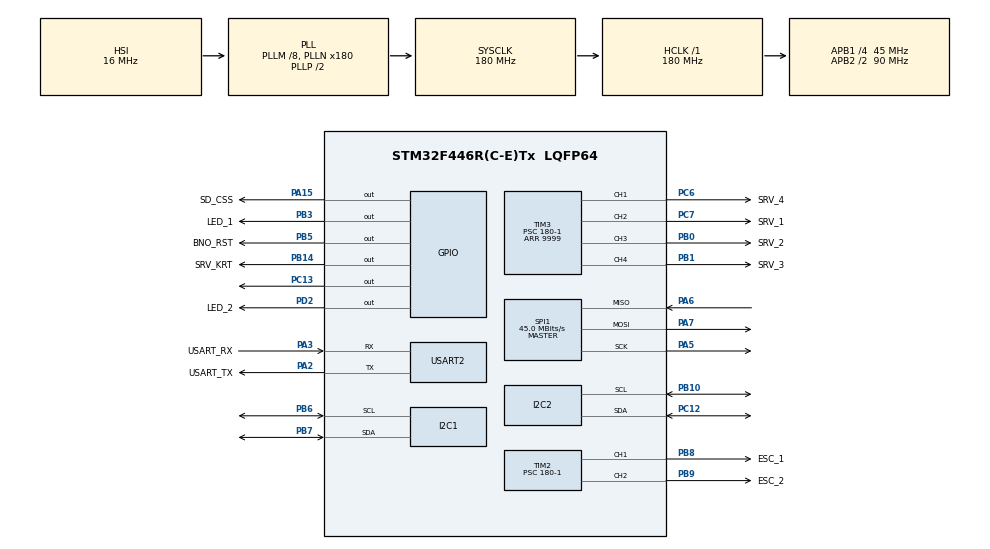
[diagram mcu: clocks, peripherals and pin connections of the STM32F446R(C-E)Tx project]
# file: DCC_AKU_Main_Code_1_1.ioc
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FATFS._MAX_SS=4096
FREERTOS.Tasks01=Read_SensorData,3,512,Read_Sensor_Data_Task,Default,NULL,Dynamic,NULL,NULL;Flight_States,2,512,Flight_States_Task,Default,NULL,Dynamic,NULL,NULL;Servo_Control,2,512,Servo_Control_Task,Default,NULL,Dynamic,NULL,NULL;DC_Motor_Contro,2,512,DC_Motor_Control_Task,Default,NULL,Dynamic,NULL,NULL;Uart_to_LTC,0,2048,Uart_to_LTC_Task,Default,NULL,Dynamic,NULL,NULL;Write_to_SD,0,1024,Write_to_SD_Start,Default,NULL,Dynamic,NULL,NULL;System_Check,2,512,System_Check_Start,Default,NULL,Dynamic,NULL,NULL
FREERTOS.configCHECK_FOR_STACK_OVERFLOW=1
FREERTOS.configTOTAL_HEAP_SIZE=45360
FREERTOS.configUSE_NEWLIB_REENTRANT=1
Mcu.Family=STM32F4
Mcu.Name=STM32F446R(C-E)Tx
Mcu.Package=LQFP64
NVIC.PriorityGroup=NVIC_PRIORITYGROUP_4
NVIC.TIM1_UP_TIM10_IRQn=true\:15\:0\:false\:false\:true\:false\:false\:true\:true
NVIC.TimeBase=TIM1_UP_TIM10_IRQn
NVIC.TimeBaseIP=TIM1
NVIC.USART2_IRQn=true\:5\:0\:false\:false\:true\:true\:true\:true\:true
PA13.GPIO_Label=TMS
PA13.Mode=Serial_Wire
PA13.Signal=SYS_JTMS-SWDIO
PA14.GPIO_Label=TCK
PA14.Mode=Serial_Wire
PA14.Signal=SYS_JTCK-SWCLK
PA15.GPIO_Label=SD_CSS
PA15.Signal=GPIO_Output
PA2.GPIO_Label=USART_TX
PA2.Mode=Asynchronous
PA2.Signal=USART2_TX
PA3.GPIO_Label=USART_RX
PA3.Mode=Asynchronous
PA3.Signal=USART2_RX
PA5.Mode=Full_Duplex_Master
PA5.Signal=SPI1_SCK
PA6.Mode=Full_Duplex_Master
PA6.Signal=SPI1_MISO
PA7.Mode=Full_Duplex_Master
PA7.Signal=SPI1_MOSI
PB0.GPIO_Label=SRV_2
PB0.Signal=S_TIM3_CH3
PB1.GPIO_Label=SRV_3
PB1.Signal=S_TIM3_CH4
PB10.Mode=I2C
PB10.Signal=I2C2_SCL
PB14.GPIO_Label=SRV_KRT
PB14.Signal=GPIO_Output
PB3.GPIO_Label=LED_1
PB3.Signal=GPIO_Output
PB5.GPIO_Label=BNO_RST
PB5.Signal=GPIO_Output
PB6.Mode=I2C
PB6.Signal=I2C1_SCL
PB7.Mode=I2C
PB7.Signal=I2C1_SDA
PB8.GPIO_Label=ESC_1
PB8.Signal=S_TIM2_CH1_ETR
PB9.GPIO_Label=ESC_2
PB9.Signal=S_TIM2_CH2
PC12.Mode=I2C
PC12.Signal=I2C2_SDA
PC13.Signal=GPIO_Output
PC14-OSC32_IN.GPIO_Label=LED_3
PC14-OSC32_IN.Mode=LSE-External-Oscillator
PC14-OSC32_IN.Signal=RCC_OSC32_IN
PC15-OSC32_OUT.Mode=LSE-External-Oscillator
PC15-OSC32_OUT.Signal=RCC_OSC32_OUT
PC6.GPIO_Label=SRV_4
PC6.Signal=S_TIM3_CH1
PC7.GPIO_Label=SRV_1
PC7.Signal=S_TIM3_CH2
PD2.GPIO_Label=LED_2
PD2.Signal=GPIO_Output
PH0-OSC_IN.Mode=HSE-External-Oscillator
PH0-OSC_IN.Signal=RCC_OSC_IN
PH1-OSC_OUT.Mode=HSE-External-Oscillator
PH1-OSC_OUT.Signal=RCC_OSC_OUT
ProjectManager.HeapSize=0x200
ProjectManager.StackSize=0x400
ProjectManager.TargetToolchain=STM32CubeIDE
RCC.48MHZClocksFreq_Value=84000000
RCC.AHBFreq_Value=180000000
RCC.APB1CLKDivider=RCC_HCLK_DIV4
RCC.APB1Freq_Value=45000000
RCC.APB1TimFreq_Value=90000000
RCC.APB2CLKDivider=RCC_HCLK_DIV2
RCC.APB2Freq_Value=90000000
RCC.APB2TimFreq_Value=180000000
RCC.CortexFreq_Value=180000000
RCC.FLatency-AdvancedSettings=FLASH_LATENCY_5
RCC.HCLKFreq_Value=180000000
RCC.HSE_VALUE=8000000
RCC.HSI_VALUE=16000000
RCC.PLLM=8
RCC.PLLN=180
RCC.SYSCLKFreq_VALUE=180000000
RCC.SYSCLKSource=RCC_SYSCLKSOURCE_PLLCLK
RCC.USBFreq_Value=180000000
RCC.VCOOutputFreq_Value=360000000
SH.S_TIM2_CH1_ETR.0=TIM2_CH1,PWM Generation1 CH1
SH.S_TIM2_CH2.0=TIM2_CH2,PWM Generation2 CH2
SH.S_TIM3_CH1.0=TIM3_CH1,PWM Generation1 CH1
SH.S_TIM3_CH2.0=TIM3_CH2,PWM Generation2 CH2
SH.S_TIM3_CH3.0=TIM3_CH3,PWM Generation3 CH3
SH.S_TIM3_CH4.0=TIM3_CH4,PWM Generation4 CH4
SPI1.CalculateBaudRate=45.0 MBits/s
SPI1.Direction=SPI_DIRECTION_2LINES
SPI1.Mode=SPI_MODE_MASTER
SPI1.VirtualType=VM_MASTER
TIM2.Channel-PWM\ Generation1\ CH1=TIM_CHANNEL_1
TIM2.Channel-PWM\ Generation2\ CH2=TIM_CHANNEL_2
TIM2.Period=9999
TIM2.Prescaler=180-1
TIM3.Channel-PWM\ Generation1\ CH1=TIM_CHANNEL_1
TIM3.Channel-PWM\ Generation2\ CH2=TIM_CHANNEL_2
TIM3.Channel-PWM\ Generation3\ CH3=TIM_CHANNEL_3
TIM3.Channel-PWM\ Generation4\ CH4=TIM_CHANNEL_4
TIM3.Period=9999
TIM3.Prescaler=180-1
USART2.VirtualMode=VM_ASYNC
VP_FATFS_VS_Generic.Mode=User_defined
VP_FREERTOS_VS_CMSIS_V1.Mode=CMSIS_V1
VP_SYS_VS_tim1.Mode=TIM1
VP_TIM2_VS_ClockSourceINT.Mode=Internal
VP_TIM3_VS_ClockSourceINT.Mode=Internal
board=NUCLEO-F446RE

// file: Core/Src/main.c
/* USER CODE BEGIN Header */
/**
  ******************************************************************************
  * @file           : main.c
  * @brief          : Main program body
  ******************************************************************************
  * @attention
  *
  * Copyright (c) 2023 STMicroelectronics.
  * All rights reserved.
  *
  * This software is licensed under terms that can be found in the LICENSE file
  * in the root directory of this software component.
  * If no LICENSE file comes with this software, it is provided AS-IS.
  *
  ******************************************************************************
  */
/* USER CODE END Header */
#include "main.h"
#include "cmsis_os.h"
#include "fatfs.h"
#include "i2c.h"
#include "spi.h"
#include "tim.h"
#include "usart.h"
#include "gpio.h"

/* USER CODE BEGIN Includes */
#include "DCC_Functions.h"
#include "DCC_Variables.h"
/* USER CODE END Includes */

void SystemClock_Config(void);
void MX_FREERTOS_Init(void);

/* USER CODE BEGIN 0 */

void HAL_UART_RxCpltCallback(UART_HandleTypeDef *huart)
{
	if(huart->Instance == huart2.Instance)
	{
		emergency_shutdown_UART();
	}
}
/* USER CODE END 0 */

int main(void)
{

  /* MCU Configuration--------------------------------------------------------*/

  /* Reset of all peripherals, Initializes the Flash interface and the Systick. */
  HAL_Init();

  /* Configure the system clock */
  SystemClock_Config();

  /* Initialize all configured peripherals */
  MX_GPIO_Init();
  MX_USART2_UART_Init();
  MX_I2C2_Init();
  MX_TIM2_Init();
  MX_I2C1_Init();
  MX_TIM3_Init();
  MX_SPI1_Init();
  MX_FATFS_Init();
  /* USER CODE BEGIN 2 */
//  initBarometer();
//  init_IMU();
//  read_IMU();
//  readAltitude();
  /* USER CODE END 2 */

  /* Call init function for freertos objects (in freertos.c) */
  MX_FREERTOS_Init();

  /* Start scheduler */
  osKernelStart();
  /* We should never get here as control is now taken by the scheduler */
  /* Infinite loop */
  while (1)
  {

  }
}

void SystemClock_Config(void)
{
  RCC_OscInitTypeDef RCC_OscInitStruct = {0};
  RCC_ClkInitTypeDef RCC_ClkInitStruct = {0};

  /** Configure the main internal regulator output voltage
  */
  __HAL_RCC_PWR_CLK_ENABLE();
  __HAL_PWR_VOLTAGESCALING_CONFIG(PWR_REGULATOR_VOLTAGE_SCALE1);

  /** Initializes the RCC Oscillators according to the specified parameters
  * in the RCC_OscInitTypeDef structure.
  */
  RCC_OscInitStruct.OscillatorType = RCC_OSCILLATORTYPE_HSI;
  RCC_OscInitStruct.HSIState = RCC_HSI_ON;
  RCC_OscInitStruct.HSICalibrationValue = RCC_HSICALIBRATION_DEFAULT;
  RCC_OscInitStruct.PLL.PLLState = RCC_PLL_ON;
  RCC_OscInitStruct.PLL.PLLSource = RCC_PLLSOURCE_HSI;
  RCC_OscInitStruct.PLL.PLLM = 8;
  RCC_OscInitStruct.PLL.PLLN = 180;
  RCC_OscInitStruct.PLL.PLLP = RCC_PLLP_DIV2;
  RCC_OscInitStruct.PLL.PLLQ = 2;
  RCC_OscInitStruct.PLL.PLLR = 2;
  if (HAL_RCC_OscConfig(&RCC_OscInitStruct) != HAL_OK)
  {
    Error_Handler();
  }

  /** Activate the Over-Drive mode
  */
  if (HAL_PWREx_EnableOverDrive() != HAL_OK)
  {
    Error_Handler();
  }

  /** Initializes the CPU, AHB and APB buses clocks
  */
  RCC_ClkInitStruct.ClockType = RCC_CLOCKTYPE_HCLK|RCC_CLOCKTYPE_SYSCLK
                              |RCC_CLOCKTYPE_PCLK1|RCC_CLOCKTYPE_PCLK2;
  RCC_ClkInitStruct.SYSCLKSource = RCC_SYSCLKSOURCE_PLLCLK;
  RCC_ClkInitStruct.AHBCLKDivider = RCC_SYSCLK_DIV1;
  RCC_ClkInitStruct.APB1CLKDivider = RCC_HCLK_DIV4;
  RCC_ClkInitStruct.APB2CLKDivider = RCC_HCLK_DIV2;

  if (HAL_RCC_ClockConfig(&RCC_ClkInitStruct, FLASH_LATENCY_5) != HAL_OK)
  {
    Error_Handler();
  }
}

void HAL_TIM_PeriodElapsedCallback(TIM_HandleTypeDef *htim)
{
  if (htim->Instance == TIM1) {
    HAL_IncTick();
  }
}

void Error_Handler(void)
{
  __disable_irq();
  while (1)
  {
  }
}

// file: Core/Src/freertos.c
/* USER CODE BEGIN Header */
/**
 ******************************************************************************
 * File Name          : freertos.c
 * Description        : Code for freertos applications
 ******************************************************************************
 * @attention
 *
 * Copyright (c) 2023 STMicroelectronics.
 * All rights reserved.
 *
 * This software is licensed under terms that can be found in the LICENSE file
 * in the root directory of this software component.
 * If no LICENSE file comes with this software, it is provided AS-IS.
 *
 ******************************************************************************
 */
/* USER CODE END Header */

#include "FreeRTOS.h"
#include "task.h"
#include "main.h"
#include "cmsis_os.h"

/* USER CODE BEGIN Includes */
#include "DCC_Functions.h"
#include "DCC_Variables.h"
#include "DCC_Motor_Control.h"
#include "DCC_Checking.h"
#include "tim.h"
#include "File_Handling_RTOS.h"
#include "state_controller.h"
/* USER CODE END Includes */

osThreadId Read_SensorDataHandle;
osThreadId Flight_StatesHandle;
osThreadId Servo_ControlHandle;
osThreadId DC_Motor_ControHandle;
osThreadId Uart_to_LTCHandle;
osThreadId Write_to_SDHandle;
osThreadId System_CheckHandle;

void Read_Sensor_Data_Task(void const * argument);
void Flight_States_Task(void const * argument);
void Servo_Control_Task(void const * argument);
void DC_Motor_Control_Task(void const * argument);
void Uart_to_LTC_Task(void const * argument);
void Write_to_SD_Start(void const * argument);
void System_Check_Start(void const * argument);

void MX_FREERTOS_Init(void); /* (MISRA C 2004 rule 8.1) */

/* GetIdleTaskMemory prototype (linked to static allocation support) */
void vApplicationGetIdleTaskMemory( StaticTask_t **ppxIdleTaskTCBBuffer, StackType_t **ppxIdleTaskStackBuffer, uint32_t *pulIdleTaskStackSize );

/* Hook prototypes */
void vApplicationStackOverflowHook(xTaskHandle xTask, signed char *pcTaskName);

/* USER CODE BEGIN 4 */
__weak void vApplicationStackOverflowHook(xTaskHandle xTask, signed char *pcTaskName)
{
  /* Run time stack overflow checking is performed if
  configCHECK_FOR_STACK_OVERFLOW is defined to 1 or 2. This hook function is
  called if a stack overflow is detected. */
}
/* USER CODE END 4 */

/* USER CODE BEGIN GET_IDLE_TASK_MEMORY */
static StaticTask_t xIdleTaskTCBBuffer;
static StackType_t xIdleStack[configMINIMAL_STACK_SIZE];

void vApplicationGetIdleTaskMemory(StaticTask_t **ppxIdleTaskTCBBuffer, StackType_t **ppxIdleTaskStackBuffer, uint32_t *pulIdleTaskStackSize)
{
  *ppxIdleTaskTCBBuffer = &xIdleTaskTCBBuffer;
  *ppxIdleTaskStackBuffer = &xIdleStack[0];
  *pulIdleTaskStackSize = configMINIMAL_STACK_SIZE;
  /* place for user code */
}
/* USER CODE END GET_IDLE_TASK_MEMORY */

void MX_FREERTOS_Init(void) {

  /* Create the thread(s) */
  /* definition and creation of Read_SensorData */
  osThreadDef(Read_SensorData, Read_Sensor_Data_Task, osPriorityRealtime, 0, 512);
  Read_SensorDataHandle = osThreadCreate(osThread(Read_SensorData), NULL);

  /* definition and creation of Flight_States */
  osThreadDef(Flight_States, Flight_States_Task, osPriorityHigh, 0, 512);
  Flight_StatesHandle = osThreadCreate(osThread(Flight_States), NULL);

  /* definition and creation of Servo_Control */
  osThreadDef(Servo_Control, Servo_Control_Task, osPriorityHigh, 0, 512);
  Servo_ControlHandle = osThreadCreate(osThread(Servo_Control), NULL);

  /* definition and creation of DC_Motor_Contro */
  osThreadDef(DC_Motor_Contro, DC_Motor_Control_Task, osPriorityHigh, 0, 512);
  DC_Motor_ControHandle = osThreadCreate(osThread(DC_Motor_Contro), NULL);

  /* definition and creation of Uart_to_LTC */
  osThreadDef(Uart_to_LTC, Uart_to_LTC_Task, osPriorityNormal, 0, 2048);
  Uart_to_LTCHandle = osThreadCreate(osThread(Uart_to_LTC), NULL);

  /* definition and creation of Write_to_SD */
  osThreadDef(Write_to_SD, Write_to_SD_Start, osPriorityNormal, 0, 1024);
  Write_to_SDHandle = osThreadCreate(osThread(Write_to_SD), NULL);

  /* definition and creation of System_Check */
  osThreadDef(System_Check, System_Check_Start, osPriorityHigh, 0, 512);
  System_CheckHandle = osThreadCreate(osThread(System_Check), NULL);

}

/* USER CODE BEGIN Header_Read_Sensor_Data_Task */
/**
 * @brief  Function implementing the Read_SensorData thread.
 * @param  argument: Not used
 * @retval None
 */
int data_collecting_time;
int temp_time;
/* USER CODE END Header_Read_Sensor_Data_Task */
void Read_Sensor_Data_Task(void const * argument)
{
  /* USER CODE BEGIN Read_Sensor_Data_Task */
  initFilter();
  initBarometer();
  init_IMU();
  /* Infinite loop */
  for (;;)
  {
    temp_time = HAL_GetTick();
    read_IMU();
    readAltitude();
    getTime();

    data_collecting_time = HAL_GetTick() - temp_time;
    osDelay(1);
  }
  /* USER CODE END Read_Sensor_Data_Task */
}

void Flight_States_Task(void const * argument)
{
  /* USER CODE BEGIN Flight_States_Task */
  /* Infinite loop */
  for (;;)
  {
    switch (flight_state)
    {
    case START:

      if (checkLiftoff() == 1)
      {
    	// time.liftoff = time.current;
        flight_state = AFTER_LIFTOFF;
      }
      break;

    case AFTER_LIFTOFF:

      if (checkBurnout() == 1)
      {

        flight_state = AFTER_BURNOUT;
      }
      break;

    case AFTER_BURNOUT:

      if (checkApogee() == 1)
      {
    	// time.apogee = time.current;
        flight_state = FREEFALL_STAGE;
      }
      break;

      //	    case AFTER_APOGEE:
      //	      if (checkSeperationfromRocket() == 1)
      //	      {
      //	        flight_state = FREEFALL_STAGE;
      //	      }
      //      break;
    case FREEFALL_STAGE:

      if (checkSeperationfromContainer() == 1)
      {
        // time.container_seperation = time.current;
    	recovery_command = 1;
    	osDelay(3000);
        flight_state = CONTROLLED_FLIGHT;
      }
      break;

    case CONTROLLED_FLIGHT:

      if (checkLanding() == 1)
      {
    	// time.landing = time.current;
        flight_state = TOUCHDOWN;
      }
      break;

    case TOUCHDOWN:

    	osDelay(2000);
    	DC_motor_shutdown();
    	servo_reset_state();
      break;

    case LOST_OF_CONTROL_STAGE:

    	DC_motor_shutdown();
    	servo_reset_state();
    	break;

    default:
                    // DEBUG_PROFILE_X
    	break;
    }

    osDelay(1);
  }
  /* USER CODE END Flight_States_Task */
}

void Servo_Control_Task(void const * argument)
{
  /* USER CODE BEGIN Servo_Control_Task */
  init_Servo();

  servo_movement_control();

  /* Infinite loop */
  for (;;)
  {

    if (flight_state >= CONTROLLED_FLIGHT)
    {
    	if(flight_state == TOUCHDOWN || flight_state == LOST_OF_CONTROL_STAGE){
    		osDelay(2000);
    		servo_reset_state();
    	}
    	else {
    		update_input();
    	}
    }
    else
    {
       servo_reset_state();
    }
    osDelay(1);
  }
  /* USER CODE END Servo_Control_Task */
}

/* USER CODE BEGIN Header_DC_Motor_Control_Task */
/**
 * @brief Function implementing the DC_Motor_Contro thread.
 * @param argument: Not used
 * @retval None
 */
int cntr;
/* USER CODE END Header_DC_Motor_Control_Task */
void DC_Motor_Control_Task(void const * argument)
{
  /* USER CODE BEGIN DC_Motor_Control_Task */
   init_DC_Motor();

   configurate_ESC();

   pid_init(0.8826413834408723,0.111547323582044,-0.281529513439454);

  /* Infinite loop */
  for (;;)
  {
	  //DC_motor_thrust(100);
	    if (flight_state >= CONTROLLED_FLIGHT)
	    {
	    	if(flight_state == TOUCHDOWN || flight_state == LOST_OF_CONTROL_STAGE){
	    		osDelay(2000);
	    		DC_motor_shutdown();
	    	}
	    	else {
	    		pid_update();
	    	}
	    }
	    else
	    {
	       servo_reset_state();
	    }
       osDelay(1);
  }
  /* USER CODE END DC_Motor_Control_Task */
}

void Uart_to_LTC_Task(void const * argument)
{
  /* USER CODE BEGIN Uart_to_LTC_Task */
  // emergency_shutdown_UART_init();
  osDelay(8000);

  /* Infinite loop */
  for (;;)
  {

    send_to_LTC_via_UART();
    osDelay(20);
  }
  /* USER CODE END Uart_to_LTC_Task */
}

void Write_to_SD_Start(void const * argument)
{
  /* USER CODE BEGIN Write_to_SD_Start */
  SD_init();
  /* Infinite loop */
  for (;;)
  {
    SD_write();

    osDelay(1);
  }
  /* USER CODE END Write_to_SD_Start */
}

void System_Check_Start(void const * argument)
{
  /* USER CODE BEGIN System_Check_Start */
  /* Infinite loop */
  for (;;)
  {

	  if(recovery_command == 1){
	      			  give_recov_signal();
	      			  recovery_command = 0;
	      	}
    osDelay(1);
  }
  /* USER CODE END System_Check_Start */
}
